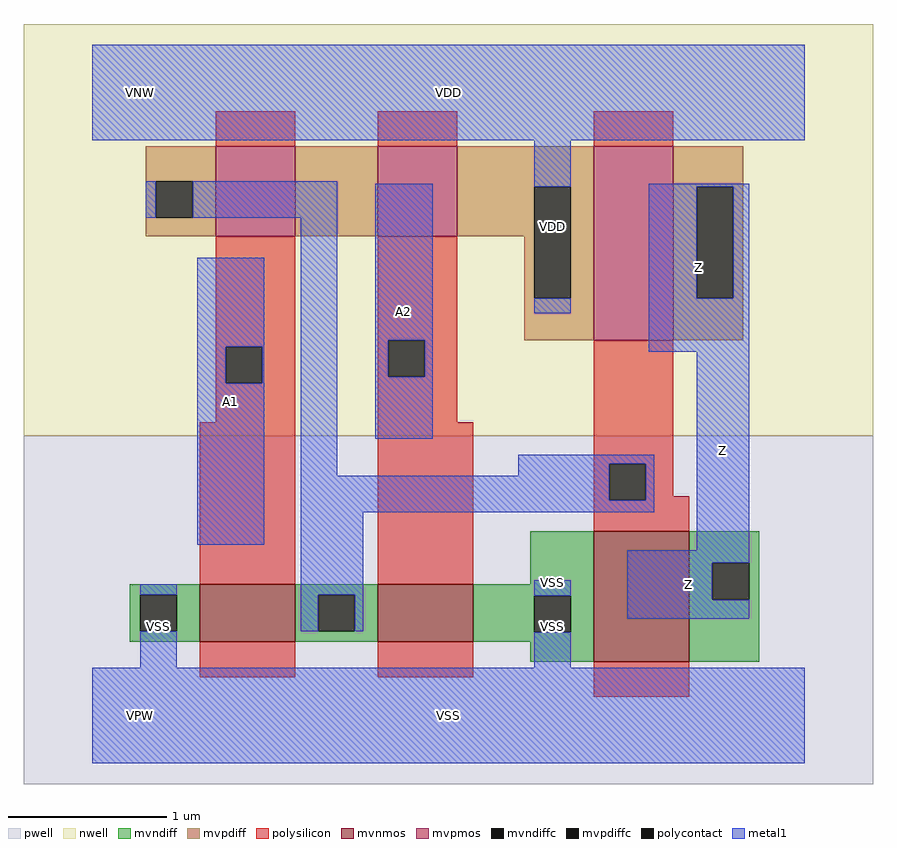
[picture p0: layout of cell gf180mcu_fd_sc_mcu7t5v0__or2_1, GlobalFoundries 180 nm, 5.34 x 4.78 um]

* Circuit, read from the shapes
.subckt gf180mcu_fd_sc_mcu7t5v0__or2_1 A1 A2 Z VDD VNW VPW VSS
XM1 n1 A1 VSS VPW nfet_06v0 w=0.36u l=0.6u
XM2 VSS A2 n1 VPW nfet_06v0 w=0.36u l=0.6u
XM3 Z n1 VSS VPW nfet_06v0 w=0.82u l=0.6u
XM4 n2 A1 n1 VNW pfet_06v0 w=0.565u l=0.5u
XM5 VDD A2 n2 VNW pfet_06v0 w=0.565u l=0.5u
XM6 Z n1 VDD VNW pfet_06v0 w=1.22u l=0.5u
.ends

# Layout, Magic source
magic
tech gf180mcuD
magscale 1 10
<< nwell >>
rect -86 352 982 870
<< pwell >>
rect -86 -86 982 352
<< mvnmos >>
rect 135 93 255 165
rect 359 93 479 165
rect 631 68 751 232
<< mvpmos >>
rect 155 603 255 716
rect 359 603 459 716
rect 631 472 731 716
<< mvndiff >>
rect 551 165 631 232
rect 47 152 135 165
rect 47 106 60 152
rect 106 106 135 152
rect 47 93 135 106
rect 255 152 359 165
rect 255 106 284 152
rect 330 106 359 152
rect 255 93 359 106
rect 479 151 631 165
rect 479 105 556 151
rect 602 105 631 151
rect 479 93 631 105
rect 551 68 631 93
rect 751 192 839 232
rect 751 146 780 192
rect 826 146 839 192
rect 751 68 839 146
<< mvpdiff >>
rect 67 672 155 716
rect 67 626 80 672
rect 126 626 155 672
rect 67 603 155 626
rect 255 603 359 716
rect 459 665 631 716
rect 459 603 556 665
rect 543 525 556 603
rect 602 525 631 665
rect 543 472 631 525
rect 731 665 819 716
rect 731 525 760 665
rect 806 525 819 665
rect 731 472 819 525
<< mvndiffc >>
rect 60 106 106 152
rect 284 106 330 152
rect 556 105 602 151
rect 780 146 826 192
<< mvpdiffc >>
rect 80 626 126 672
rect 556 525 602 665
rect 760 525 806 665
<< polysilicon >>
rect 155 716 255 760
rect 359 716 459 760
rect 631 716 731 760
rect 155 464 255 603
rect 155 418 168 464
rect 214 418 255 464
rect 155 369 255 418
rect 135 165 255 369
rect 359 472 459 603
rect 359 426 372 472
rect 418 426 459 472
rect 359 369 459 426
rect 359 165 479 369
rect 631 317 731 472
rect 631 271 650 317
rect 696 276 731 317
rect 696 271 751 276
rect 631 232 751 271
rect 135 48 255 93
rect 359 48 479 93
rect 631 24 751 68
<< polycontact >>
rect 168 418 214 464
rect 372 426 418 472
rect 650 271 696 317
<< metal1 >>
rect 0 724 896 844
rect 67 626 80 672
rect 126 626 308 672
rect 132 464 216 576
rect 132 418 168 464
rect 214 418 216 464
rect 132 215 216 418
rect 262 302 308 626
rect 356 472 428 669
rect 556 665 602 724
rect 556 506 602 525
rect 700 665 826 669
rect 700 525 760 665
rect 806 525 826 665
rect 356 426 372 472
rect 418 426 428 472
rect 700 458 826 525
rect 356 348 428 426
rect 536 317 707 328
rect 536 302 650 317
rect 262 271 650 302
rect 696 271 707 317
rect 262 256 707 271
rect 60 152 106 165
rect 262 152 341 256
rect 760 208 826 458
rect 673 192 826 208
rect 262 106 284 152
rect 330 106 341 152
rect 556 151 602 170
rect 60 60 106 106
rect 673 146 780 192
rect 673 122 826 146
rect 556 60 602 105
rect 0 -60 896 60
<< labels >>
flabel metal1 s 0 724 896 844 0 FreeSans 400 0 0 0 VDD
port 4 nsew power bidirectional abutment
flabel metal1 s 556 165 602 170 0 FreeSans 400 0 0 0 VSS
port 7 nsew ground bidirectional abutment
flabel metal1 s 700 458 826 669 0 FreeSans 400 0 0 0 Z
port 3 nsew default output
flabel metal1 s 132 215 216 576 0 FreeSans 400 0 0 0 A1
port 1 nsew default input
flabel metal1 s 356 348 428 669 0 FreeSans 400 0 0 0 A2
port 2 nsew default input
flabel nwell s 10 734 110 834 0 FreeSans 400 0 0 0 VNW
port 5 nsew power bidirectional
flabel pwell s 10 -50 110 50 0 FreeSans 400 0 0 0 VPW
port 6 nsew ground bidirectional
rlabel metal1 s 760 208 826 458 1 Z
port 3 nsew default output
rlabel metal1 s 673 122 826 208 1 Z
port 3 nsew default output
rlabel metal1 s 556 506 602 724 1 VDD
port 4 nsew power bidirectional abutment
rlabel metal1 s 556 60 602 165 1 VSS
port 7 nsew ground bidirectional abutment
rlabel metal1 s 60 60 106 165 1 VSS
port 7 nsew ground bidirectional abutment
rlabel metal1 s 0 -60 896 60 1 VSS
port 7 nsew ground bidirectional abutment
<< properties >>
string FIXED_BBOX 0 0 896 784
string GDS_END 146756
string GDS_FILE $PDKPATH/libs.ref/gf180mcu_fd_sc_mcu7t5v0/gds/gf180mcu_fd_sc_mcu7t5v0.gds
string GDS_START 143778
string LEFclass core
string LEFsite GF018hv5v_mcu_sc7
string LEFsymmetry X Y
<< end >>
